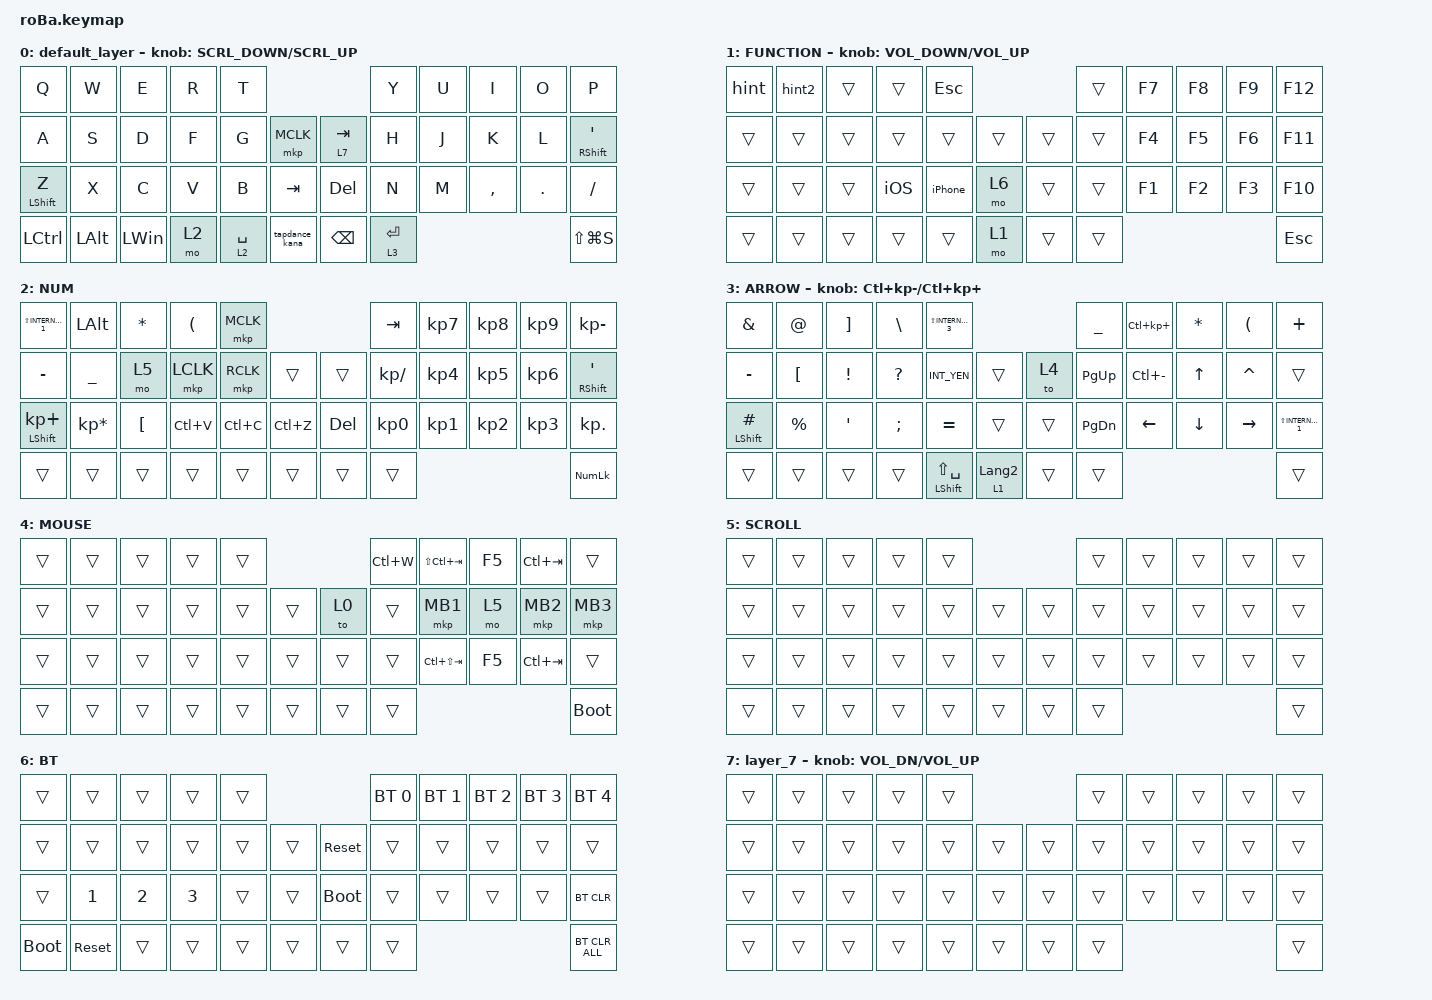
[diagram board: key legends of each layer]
#define ZMK_POINTING_DEFAULT_SCRL_VAL 80

#include <behaviors.dtsi>
#include <dt-bindings/zmk/bt.h>
#include <dt-bindings/zmk/keys.h>
#include <dt-bindings/zmk/pointing.h>

#define MOUSE 4
#define SCROLL 5
#define NUM 6

&mt {
    flavor = "balanced";
    quick-tap-ms = <0>;
};

/ {
    combos { compatible = "zmk,combos"; };

    macros {
        to_layer_0: to_layer_0 {
            compatible = "zmk,behavior-macro-one-param";
            #binding-cells = <1>;
            bindings = <&to 0 &macro_param_1to1 &kp MACRO_PLACEHOLDER>;
            label = "TO_LAYER_0";
        };

        hint: pass {
            compatible = "zmk,behavior-macro";
            #binding-cells = <0>;
            bindings = <&kp LS(E) &kp C &kp L &kp I &kp P &kp S &kp E &kp MINUS &kp N0 &kp N8 &kp N2 &kp N3>;
            label = "PASS";
        };

        hint2: hint2 {
            compatible = "zmk,behavior-macro";
            #binding-cells = <0>;
            bindings = <&kp LS(G) &kp A &kp L &kp I &kp L &kp E &kp O &kp MINUS &kp N0 &kp N8 &kp N2 &kp N3>;
            label = "HINT2";
        };

        iPhone: iPhone {
            compatible = "zmk,behavior-macro";
            #binding-cells = <0>;
            bindings = <&kp I &kp LS(P) &kp H &kp O &kp N &kp E>;
            label = "IPHONE";
        };

        iOS: iOS {
            compatible = "zmk,behavior-macro";
            #binding-cells = <0>;
            bindings = <&kp I &kp LS(O) &kp LS(S)>;
            label = "IOS";
        };
    };

    behaviors {
        lt_to_layer_0: lt_to_layer_0 {
            compatible = "zmk,behavior-hold-tap";
            label = "LAYER_TAP_TO_0";
            bindings = <&mo>, <&to_layer_0>;

            #binding-cells = <2>;
            tapping-term-ms = <200>;
        };

        tapdance_kana: tapdance_kana {
            compatible = "zmk,behavior-tap-dance";
            label = "TAPDANCE_KANA";
            #binding-cells = <0>;
            bindings = <&kp INT2>, <&kp LANGUAGE_2>, <&sl 1>;

            tapping-term-ms = <400>;
        };

        WheelScroll: WheelScroll {
            compatible = "zmk,behavior-sensor-rotate-var";
            label = "WHEELSCROLL";
            #sensor-binding-cells = <2>;
            bindings = <&msc>, <&msc>;

            tap-ms = <20>;
        };
    };

    keymap {
        compatible = "zmk,keymap";

        default_layer {
            bindings = <
&kp Q             &kp W         &kp E         &kp R  &kp T                                           &kp Y        &kp U  &kp I      &kp O    &kp P
&kp A             &kp S         &kp D         &kp F  &kp G        &mkp MCLK           &lt 7 TAB      &kp H        &kp J  &kp K      &kp L    &mt RIGHT_SHIFT SQT
&mt LEFT_SHIFT Z  &kp X         &kp C         &kp V  &kp B        &kp TAB             &kp DEL        &kp N        &kp M  &kp COMMA  &kp DOT  &kp SLASH
&kp LCTRL         &kp LEFT_ALT  &kp LEFT_WIN  &mo 2  &lt 2 SPACE  &tapdance_kana      &kp BACKSPACE  &lt 3 ENTER                             &kp LS(LG(S))
            >;

            sensor-bindings = <&WheelScroll SCRL_DOWN SCRL_UP>;
        };

        FUNCTION {
            bindings = <
&hint   &hint2  &trans  &trans  &kp ESCAPE                      &trans  &kp F7  &kp F8  &kp F9  &kp F12
&trans  &trans  &trans  &trans  &trans      &trans      &trans  &trans  &kp F4  &kp F5  &kp F6  &kp F11
&trans  &trans  &trans  &iOS    &iPhone     &mo 6       &trans  &trans  &kp F1  &kp F2  &kp F3  &kp F10
&trans  &trans  &trans  &trans  &trans      &mo 1       &trans  &trans                          &kp ESCAPE
            >;

            sensor-bindings = <&inc_dec_kp C_VOLUME_DOWN C_VOLUME_UP>;
        };

        NUM {
            bindings = <
&kp LS(INTERNATIONAL_1)  &kp LEFT_ALT     &kp ASTERISK      &kp LEFT_PARENTHESIS  &mkp MCLK                             &kp TAB       &kp KP_NUMBER_7  &kp KP_NUMBER_8  &kp KP_NUMBER_9  &kp KP_MINUS
&kp MINUS                &kp UNDERSCORE   &mo 5             &mkp LCLK             &mkp RCLK  &trans         &trans      &kp KP_SLASH  &kp KP_NUMBER_4  &kp KP_NUMBER_5  &kp KP_NUMBER_6  &mt RIGHT_SHIFT SINGLE_QUOTE
&mt LEFT_SHIFT KP_PLUS   &kp KP_ASTERISK  &kp LEFT_BRACKET  &kp LC(V)             &kp LC(C)  &kp LC(Z)      &kp DELETE  &kp KP_N0     &kp KP_NUMBER_1  &kp KP_NUMBER_2  &kp KP_NUMBER_3  &kp KP_DOT
&trans                   &trans           &trans            &trans                &trans     &trans         &trans      &trans                                                           &kp KP_NUMLOCK
            >;
        };

        ARROW {
            bindings = <
&kp AMPERSAND        &kp AT_SIGN       &kp RIGHT_BRACKET  &kp BACKSLASH  &kp LS(INTERNATIONAL_3)                                 &kp UNDER      &kp LC(KP_PLUS)  &kp ASTERISK    &kp LEFT_PARENTHESIS  &kp PLUS
&kp MINUS            &kp LEFT_BRACKET  &kp EXCLAMATION    &kp QUESTION   &kp INT_YEN               &trans                &to 4   &kp PAGE_UP    &kp LC(MINUS)    &kp UP_ARROW    &kp CARET             &trans
&mt LEFT_SHIFT HASH  &kp PERCENT       &kp SINGLE_QUOTE   &kp SEMICOLON  &kp EQUAL                 &trans                &trans  &kp PAGE_DOWN  &kp LEFT_ARROW   &kp DOWN_ARROW  &kp RIGHT_ARROW       &kp LS(INTERNATIONAL_1)
&trans               &trans            &trans             &trans         &mt LEFT_SHIFT LS(SPACE)  &lt 1 LANGUAGE_2      &trans  &trans                                                                &trans
            >;

            sensor-bindings = <&inc_dec_kp LC(KP_MINUS) LC(KP_PLUS)>;
        };

        MOUSE {
            bindings = <
&trans  &trans  &trans  &trans  &trans                      &kp LC(W)  &kp LS(LC(TAB))  &kp F5  &kp LC(TAB)  &trans
&trans  &trans  &trans  &trans  &trans  &trans      &to 0   &trans     &mkp MB1         &mo 5   &mkp MB2     &mkp MB3
&trans  &trans  &trans  &trans  &trans  &trans      &trans  &trans     &kp LC(LS(TAB))  &kp F5  &kp LC(TAB)  &trans
&trans  &trans  &trans  &trans  &trans  &trans      &trans  &trans                                           &bootloader
            >;
        };

        SCROLL {
            bindings = <
&trans  &trans  &trans  &trans  &trans                      &trans  &trans  &trans  &trans  &trans
&trans  &trans  &trans  &trans  &trans  &trans      &trans  &trans  &trans  &trans  &trans  &trans
&trans  &trans  &trans  &trans  &trans  &trans      &trans  &trans  &trans  &trans  &trans  &trans
&trans  &trans  &trans  &trans  &trans  &trans      &trans  &trans                          &trans
            >;
        };

        BT {
            bindings = <
&trans       &trans        &trans        &trans        &trans                           &bt BT_SEL 0  &bt BT_SEL 1  &bt BT_SEL 2  &bt BT_SEL 3  &bt BT_SEL 4
&trans       &trans        &trans        &trans        &trans  &trans      &sys_reset   &trans        &trans        &trans        &trans        &trans
&trans       &kp NUMBER_1  &kp NUMBER_2  &kp NUMBER_3  &trans  &trans      &bootloader  &trans        &trans        &trans        &trans        &bt BT_CLR
&bootloader  &sys_reset    &trans        &trans        &trans  &trans      &trans       &trans                                                  &bt BT_CLR_ALL
            >;
        };

        layer_7 {
            bindings = <
&trans  &trans  &trans  &trans  &trans                      &trans  &trans  &trans  &trans  &trans
&trans  &trans  &trans  &trans  &trans  &trans      &trans  &trans  &trans  &trans  &trans  &trans
&trans  &trans  &trans  &trans  &trans  &trans      &trans  &trans  &trans  &trans  &trans  &trans
&trans  &trans  &trans  &trans  &trans  &trans      &trans  &trans                          &trans
            >;

            sensor-bindings = <&inc_dec_kp C_VOL_DN C_VOL_UP>;
        };
    };
};
